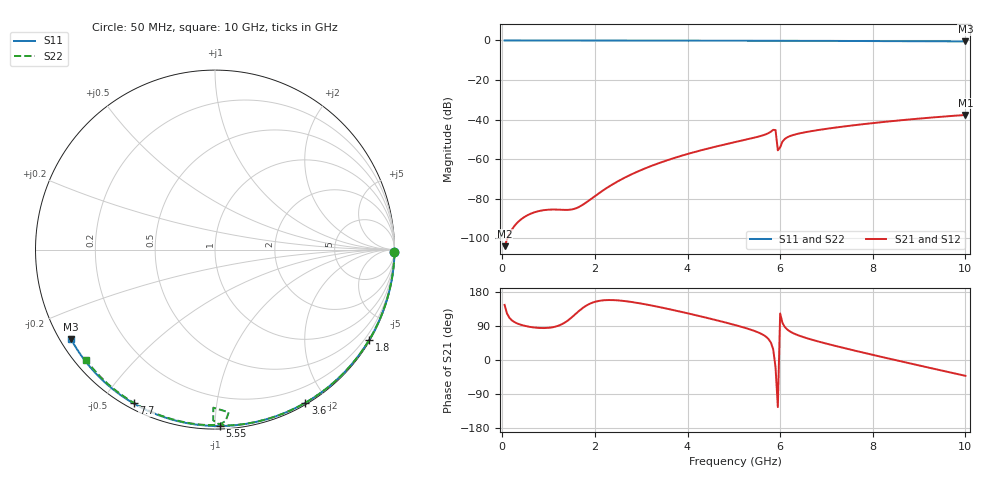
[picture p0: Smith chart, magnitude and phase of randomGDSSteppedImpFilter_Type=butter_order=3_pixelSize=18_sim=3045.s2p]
! freq	dB(S11)	phase(S11)	dB(S12)	phase(S12)
!  dB(S21)	phase(S21)	dB(S22)	phase(S22)
!S-par simulation data
#  GHz  S  DB  R 50
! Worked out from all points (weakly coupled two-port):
!   200 points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, 50 MHz to 10 GHz, reference 50 ohm
!   highest |S21| = -37.71 dB at 10 GHz (marker M1); lowest = -104.1 dB at 50 MHz (marker M2)
!   lowest |S11| = -0.5 dB at 10 GHz (marker M3), VSWR 35.06, Z = 1.54 - j14.3 ohm
!   |S11| at or under -10 dB: nowhere
!   |S22| runs from -1.1 to 0.0 dB; largest |S21 - S12| = 0
!   S11 on the Smith chart (normalised r, x): 50 MHz: open; 1.8 GHz: 0.03, -3.67; 3.6 GHz: 0.02, -1.75; 5.55 GHz: 0.02, -1.03; 7.7 GHz: 0.02, -0.60; 10 GHz: 0.03, -0.29
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0.05  -0.00 -0.9  -104.08 145.4  -104.08 145.4  -0.00 -0.8
0.9  -0.02 -15.4  -85.84 84.3  -85.84 84.3  -0.02 -14.4
1.75  -0.04 -29.7  -82.95 138.5  -82.95 138.5  -0.04 -27.8
1.8  -0.04 -30.5  -82.16 142.5  -82.16 142.5  -0.04 -28.6
1.95  -0.04 -33.0  -79.62 151.5  -79.62 151.5  -0.04 -30.9
2.6  -0.06 -43.6  -69.95 156.1  -69.95 156.1  -0.05 -40.9
3.4  -0.07 -56.3  -61.91 139.5  -61.91 139.5  -0.07 -52.9
3.6  -0.08 -59.4  -60.31 134.3  -60.31 134.3  -0.07 -55.9
5.05  -0.12 -81.3  -51.31 91.5  -51.31 91.5  -0.12 -76.7
5.55  -0.14 -88.5  -48.54 71.5  -48.54 71.5  -0.14 -84.0
5.8  -0.16 -92.0  -46.15 46.0  -46.15 46.0  -0.25 -88.9
5.85  -0.16 -92.7  -45.21 28.2  -45.21 28.2  -0.44 -90.6
5.9  -0.16 -93.4  -45.35 -18.7  -45.35 -18.7  -1.10 -90.6
5.95  -0.17 -94.1  -55.58 -124.2  -55.58 -124.2  -0.82 -85.2
6  -0.17 -94.8  -54.11 122.8  -54.11 122.8  -0.39 -86.4
6.05  -0.17 -95.5  -51.17 97.8  -51.17 97.8  -0.27 -87.9
6.15  -0.17 -96.9  -49.05 80.8  -49.05 80.8  -0.21 -90.0
6.35  -0.18 -99.7  -47.39 67.1  -47.39 67.1  -0.19 -93.2
6.7  -0.20 -104.5  -45.77 53.0  -45.77 53.0  -0.20 -98.0
7.7  -0.27 -117.9  -42.60 22.2  -42.60 22.2  -0.26 -110.9
8.35  -0.32 -126.5  -40.96 3.7  -40.96 3.7  -0.31 -119.1
10  -0.50 -148.0  -37.71 -41.8  -37.71 -41.8  -0.49 -139.6
